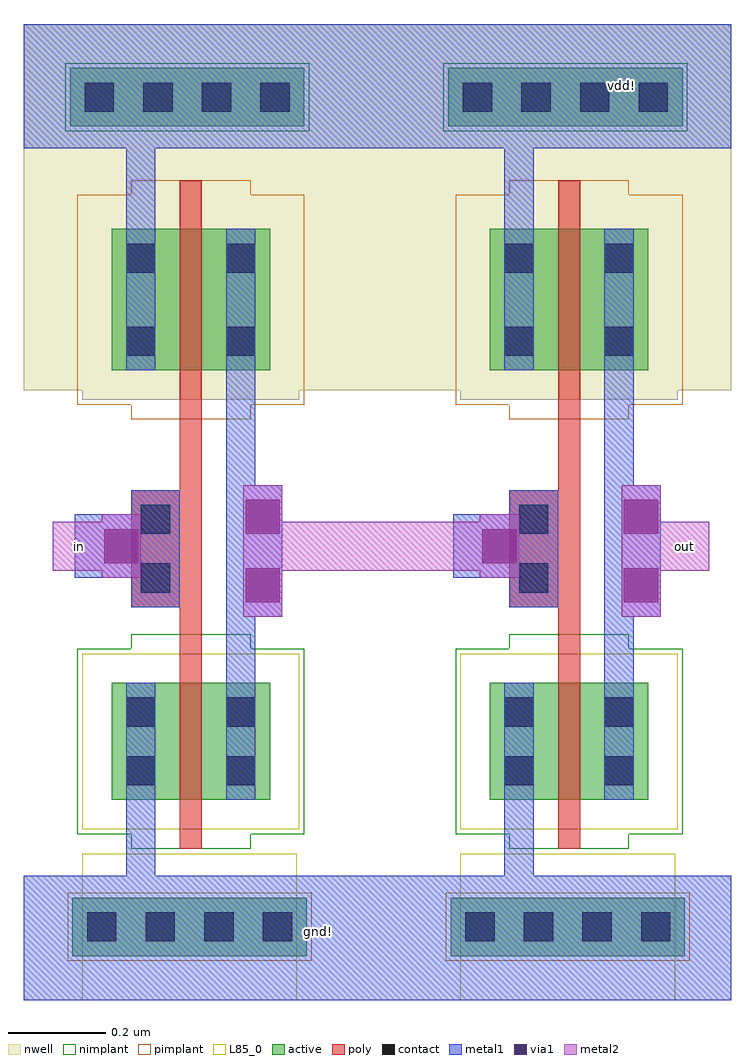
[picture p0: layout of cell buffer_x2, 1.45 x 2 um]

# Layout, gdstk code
import gdstk
lib = gdstk.Library(unit=1e-6, precision=5e-10)
def R(c, l, rs):  # rectangles x0, y0, x1, y1
    for r in rs: c.add(gdstk.rectangle(r[:2], r[2:], *l))
def A(c, l, x, y, w, h, nx, ny, dx, dy):  # array of equal rectangles
    R(c, l, [(x+i*dx, y+j*dy, x+i*dx+w, y+j*dy+h) for i in range(nx) for j in range(ny)])
active = (1, 0)
nwell = (2, 0)
poly = (3, 0)
nimplant = (4, 0)
pimplant = (5, 0)
contact = (6, 0)
metal1 = (7, 0)
via1 = (8, 0)
metal2 = (9, 0)
L85_0 = (85, 0)

nmos1v_cdns_764106643070 = lib.new_cell('nmos1v_CDNS_764106643070')
R(nmos1v_cdns_764106643070, active, [(-0.14,0,0,0.24), (0,0,0.045,0.24), (0.045,0,0.185,0.24)])
R(nmos1v_cdns_764106643070, poly, [(0,-0.1,0.045,-0.05), (0,-0.05,0.045,0), (0,0,0.045,0.24), (0,0.24,0.045,0.29), (0,0.29,0.045,0.34)])
R(nmos1v_cdns_764106643070, nimplant, [(-0.1,-0.1,0.145,0.34), (-0.21,-0.07,0.255,0.31)])
R(nmos1v_cdns_764106643070, contact, [(-0.11,0.03,-0.05,0.09), (0.095,0.03,0.155,0.09), (-0.11,0.15,-0.05,0.21), (0.095,0.15,0.155,0.21)])
R(nmos1v_cdns_764106643070, metal1, [(-0.11,0,-0.05,0.24), (0.095,0,0.155,0.24)])
R(nmos1v_cdns_764106643070, L85_0, [(-0.2,-0.06,0.245,0.3)])

pmos1v_cdns_764106643071 = lib.new_cell('pmos1v_CDNS_764106643071')
R(pmos1v_cdns_764106643071, active, [(-0.14,0,0,0.29), (0,0,0.045,0.29), (0.045,0,0.185,0.29)])
R(pmos1v_cdns_764106643071, nwell, [(-0.2,-0.06,0.245,0.35)])
R(pmos1v_cdns_764106643071, poly, [(0,-0.1,0.045,-0.05), (0,-0.05,0.045,0), (0,0,0.045,0.29), (0,0.29,0.045,0.34), (0,0.34,0.045,0.39)])
R(pmos1v_cdns_764106643071, pimplant, [(-0.1,-0.1,0.145,0.39), (-0.21,-0.07,0.255,0.36)])
R(pmos1v_cdns_764106643071, contact, [(-0.11,0.03,-0.05,0.09), (0.095,0.03,0.155,0.09), (-0.11,0.2,-0.05,0.26), (0.095,0.2,0.155,0.26)])
R(pmos1v_cdns_764106643071, metal1, [(-0.11,0,-0.05,0.29), (0.095,0,0.155,0.29)])

m2_m1_cdns_764106643070 = lib.new_cell('M2_M1_CDNS_764106643070')
R(m2_m1_cdns_764106643070, metal1, [(-0.04,-0.135,0.04,0.135)])
R(m2_m1_cdns_764106643070, via1, [(-0.035,-0.105,0.035,-0.035), (-0.035,0.035,0.035,0.105)])
R(m2_m1_cdns_764106643070, metal2, [(-0.04,-0.135,0.04,0.135)])

m1_psub_cdns_76410664307 = lib.new_cell('M1_PSUB_CDNS_764106643071')
R(m1_psub_cdns_76410664307, active, [(-0.24,-0.06,0.24,0.06)])
R(m1_psub_cdns_76410664307, pimplant, [(-0.25,-0.07,0.25,0.07)])
A(m1_psub_cdns_76410664307, contact, -0.21, -0.03, 0.06, 0.06, 4, 1, 0.12, 0)
R(m1_psub_cdns_76410664307, metal1, [(-0.21,-0.06,0.21,0.06)])
R(m1_psub_cdns_76410664307, L85_0, [(-0.22,-0.15,0.22,0.15)])

m1_po_cdns_764106643072 = lib.new_cell('M1_PO_CDNS_764106643072')
R(m1_po_cdns_764106643072, poly, [(-0.05,-0.12,0.05,0.12)])
R(m1_po_cdns_764106643072, contact, [(-0.03,-0.09,0.03,-0.03), (-0.03,0.03,0.03,0.09)])
R(m1_po_cdns_764106643072, metal1, [(-0.05,-0.12,0.05,0.12)])

m2_m1_cdns_764106643073 = lib.new_cell('M2_M1_CDNS_764106643073')
R(m2_m1_cdns_764106643073, metal1, [(-0.095,-0.065,0.095,0.065)])
R(m2_m1_cdns_764106643073, via1, [(-0.035,-0.035,0.035,0.035)])
R(m2_m1_cdns_764106643073, metal2, [(-0.04,-0.065,0.04,0.065)])

m1_nwell_cdns_7641066430 = lib.new_cell('M1_NWELL_CDNS_764106643074')
R(m1_nwell_cdns_7641066430, active, [(-0.24,-0.06,0.24,0.06)])
R(m1_nwell_cdns_7641066430, nwell, [(-0.27,-0.15,0.27,0.15)])
R(m1_nwell_cdns_7641066430, nimplant, [(-0.25,-0.07,0.25,0.07)])
A(m1_nwell_cdns_7641066430, contact, -0.21, -0.03, 0.06, 0.06, 4, 1, 0.12, 0)
R(m1_nwell_cdns_7641066430, metal1, [(-0.21,-0.06,0.21,0.06)])

inv_x2 = lib.new_cell('inv_x2')
R(inv_x2, nwell, [(0,1.25,0.675,2)])
R(inv_x2, metal1, [(0,0,0.675,0.255), (0.275,0.035,0.375,0.135), (0,1.745,0.675,2), (0.3,1.895,0.4,1.995)])
R(inv_x2, metal2, [(0.06,0.88,0.16,0.98), (0.53,0.88,0.63,0.98)])
inv_x2.add(gdstk.FlexPath([(0.3425,1.325),(0.3425,0.63)], 0.045, ends="flush", simple_path=True, layer=3, datatype=0))  # poly
inv_x2.add(gdstk.FlexPath([(0.24,1.545),(0.24,1.93)], 0.06, ends=(0, 0.07), simple_path=True, layer=7, datatype=0))  # metal1
inv_x2.add(gdstk.FlexPath([(0.24,0.41),(0.24,0.07)], 0.06, ends=(0, 0.07), simple_path=True, layer=7, datatype=0))  # metal1
inv_x2.add(gdstk.FlexPath([(0.445,1.425),(0.445,0.53)], 0.06, ends="flush", simple_path=True, layer=7, datatype=0))  # metal1
inv_x2.add(gdstk.Reference(nmos1v_cdns_764106643070, (0.32,0.41)))
inv_x2.add(gdstk.Reference(pmos1v_cdns_764106643071, (0.32,1.29)))
inv_x2.add(gdstk.Reference(m2_m1_cdns_764106643070, (0.49,0.92)))
inv_x2.add(gdstk.Reference(m1_psub_cdns_76410664307, (0.34,0.15)))
inv_x2.add(gdstk.Reference(m1_po_cdns_764106643072, (0.27,0.925)))
inv_x2.add(gdstk.Reference(m2_m1_cdns_764106643073, (0.2,0.93)))
inv_x2.add(gdstk.Reference(m1_nwell_cdns_7641066430, (0.335,1.85)))
inv_x2.add(gdstk.Label('vdd!', (0.35,1.945), layer=7, texttype=0))
inv_x2.add(gdstk.Label('gnd!', (0.325,0.085), layer=7, texttype=0))
inv_x2.add(gdstk.Label('Vin', (0.11,0.93), layer=9, texttype=0))
inv_x2.add(gdstk.Label('Vout', (0.58,0.93), layer=9, texttype=0))

buffer_x2 = lib.new_cell('buffer_x2')
R(buffer_x2, nwell, [(0.675,1.25,0.775,2)])
R(buffer_x2, metal1, [(0.675,0,0.775,0.255), (0.555,0.09,0.655,0.19), (0.675,1.745,0.775,2), (1.175,1.825,1.275,1.925)])
R(buffer_x2, metal2, [(0.065,0.88,0.165,0.98), (1.305,0.88,1.405,0.98)])
buffer_x2.add(gdstk.FlexPath([(0.835,0.93),(0.63,0.93)], 0.1, ends="flush", simple_path=True, layer=9, datatype=0))  # metal2
buffer_x2.add(gdstk.Reference(inv_x2, (0,0)))
buffer_x2.add(gdstk.Reference(inv_x2, (0.775,0)))
buffer_x2.add(gdstk.Label('vdd!', (1.225,1.875), layer=7, texttype=0))
buffer_x2.add(gdstk.Label('gnd!', (0.605,0.14), layer=7, texttype=0))
buffer_x2.add(gdstk.Label('out', (1.355,0.93), layer=9, texttype=0))
buffer_x2.add(gdstk.Label('in', (0.115,0.93), layer=9, texttype=0))

lib.write_gds('buffer_x2.gds')
